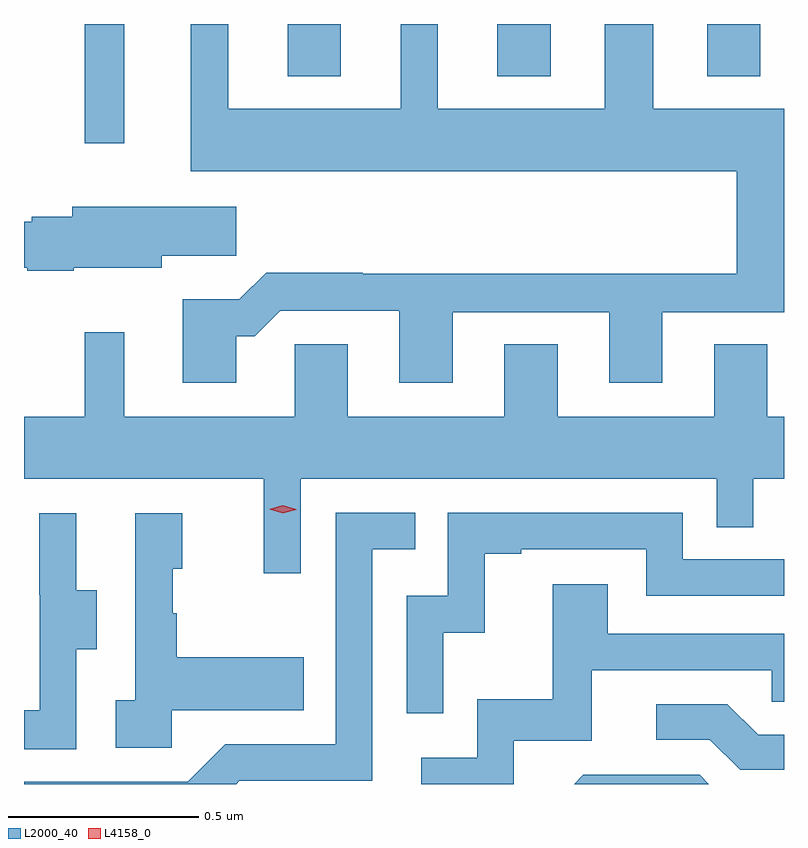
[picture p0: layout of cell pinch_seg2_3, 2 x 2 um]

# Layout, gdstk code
import gdstk
lib = gdstk.Library(unit=1e-6, precision=1e-09)
def R(c, l, rs):  # rectangles x0, y0, x1, y1
    for r in rs: c.add(gdstk.rectangle(r[:2], r[2:], *l))
def A(c, l, x, y, w, h, nx, ny, dx, dy):  # array of equal rectangles
    R(c, l, [(x+i*dx, y+j*dy, x+i*dx+w, y+j*dy+h) for i in range(nx) for j in range(ny)])
def P(c, l, *ps):  # polygons
    for p in ps: c.add(gdstk.Polygon(p, *l))
L2000_40 = (2000, 40)
L4158_0 = (4158, 0)

pinch_seg2_3 = lib.new_cell('pinch_seg2_3')
A(pinch_seg2_3, L2000_40, 1136.957, 663.347, 0.14, 0.138, 3, 1, 0.552, 0)
R(pinch_seg2_3, L2000_40, [(1136.423,663.171,1136.527,663.485)])
P(pinch_seg2_3, L2000_40, [(1136.821,662.663),(1136.87,662.663),(1136.937,662.73),(1137.251,662.73),(1137.251,662.541),(1137.391,662.541),(1137.391,662.727),(1137.803,662.727),(1137.803,662.541),(1137.943,662.541),(1137.943,662.727),(1138.263,662.727),(1138.263,663.262),(1137.919,663.262),(1137.919,663.485),(1137.791,663.485),(1137.791,663.262),(1137.352,663.262),(1137.352,663.485),(1137.254,663.485),(1137.254,663.262),(1136.8,663.262),(1136.8,663.485),(1136.702,663.485),(1136.702,663.098),(1138.139,663.098),(1138.139,662.828),(1137.155,662.828),(1137.155,662.831),(1136.9,662.831),(1136.83,662.761),(1136.681,662.761),(1136.681,662.541),(1136.821,662.541)],
  [(1136.394,662.843),(1136.626,662.843),(1136.626,662.875),(1136.821,662.875),(1136.821,663.004),(1136.39,663.004),(1136.39,662.978),(1136.283,662.978),(1136.283,662.965),(1136.263,662.965),(1136.263,662.843),(1136.272,662.843),(1136.272,662.836),(1136.394,662.836)],
  [(1136.991,662.288),(1138.086,662.288),(1138.086,662.161),(1138.182,662.161),(1138.182,662.288),(1138.263,662.288),(1138.263,662.452),(1138.219,662.452),(1138.219,662.642),(1138.079,662.642),(1138.079,662.452),(1137.667,662.452),(1137.667,662.642),(1137.527,662.642),(1137.527,662.452),(1137.115,662.452),(1137.115,662.642),(1136.976,662.642),(1136.976,662.452),(1136.527,662.452),(1136.527,662.674),(1136.423,662.674),(1136.423,662.452),(1136.263,662.452),(1136.263,662.288),(1136.894,662.288),(1136.894,662.04),(1136.991,662.04)],
  [(1136.83,661.494),(1137.18,661.494),(1137.18,662.103),(1137.293,662.103),(1137.293,662.199),(1137.084,662.199),(1137.084,661.59),(1136.793,661.59),(1136.694,661.491),(1136.263,661.491),(1136.263,661.485),(1136.821,661.485)],
  [(1137.366,661.883),(1137.476,661.883),(1137.476,662.091),(1137.571,662.091),(1137.571,662.103),(1137.9,662.103),(1137.9,661.98),(1138.263,661.98),(1138.263,662.076),(1137.996,662.076),(1137.996,662.199),(1137.378,662.199),(1137.378,661.98),(1137.27,661.98),(1137.27,661.671),(1137.366,661.671)],
  [(1136.4,661.84),(1136.455,661.84),(1136.455,661.995),(1136.401,661.995),(1136.401,662.197),(1136.303,662.197),(1136.303,661.983),(1136.304,661.983),(1136.304,661.679),(1136.263,661.679),(1136.263,661.576),(1136.4,661.576)],
  [(1136.652,661.679),(1136.999,661.679),(1136.999,661.819),(1136.665,661.819),(1136.665,661.934),(1136.655,661.934),(1136.655,662.052),(1136.68,662.052),(1136.68,662.197),(1136.556,662.197),(1136.556,661.706),(1136.505,661.706),(1136.505,661.581),(1136.652,661.581)],
  [(1137.552,661.599),(1137.757,661.599),(1137.757,661.785),(1138.231,661.785),(1138.231,661.701),(1138.263,661.701),(1138.263,661.881),(1137.799,661.881),(1137.799,662.011),(1137.655,662.011),(1137.655,661.708),(1137.456,661.708),(1137.456,661.554),(1137.309,661.554),(1137.309,661.485),(1137.552,661.485)],
  [(1138.263,661.614),(1138.195,661.614),(1138.114,661.695),(1137.927,661.695),(1137.927,661.602),(1138.068,661.602),(1138.148,661.522),(1138.263,661.522)],
  [(1138.041,661.509),(1137.735,661.509),(1137.711,661.485),(1138.065,661.485)])
P(pinch_seg2_3, L4158_0, [(1136.944,662.198),(1136.908,662.208),(1136.908,662.208),(1136.908,662.208),(1136.944,662.218),(1136.98,662.208),(1136.98,662.207),(1136.98,662.207)])

lib.write_gds('pinch_seg2_3.gds')
